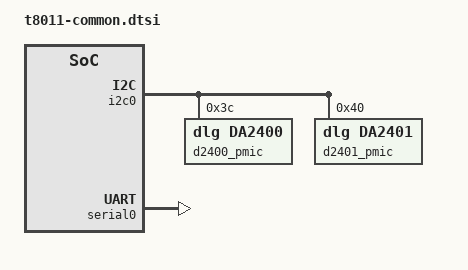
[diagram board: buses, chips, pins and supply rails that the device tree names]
// SPDX-License-Identifier: GPL-2.0+ OR MIT
/*
 * Apple TV 4K, Apple iPad Pro 2
 *
 * This file contains parts common to all Apple A10X devices.
 *
 * Copyright (c) 2024, Nick Chan <towinchenmi@gmail.com>
 */

/ {
	aliases {
		ausbphy0 = &ausbphy0; /* Used by loader */
		serial0 = &serial0;
	};

	chosen {
		#address-cells = <2>;
		#size-cells = <2>;
		ranges;

		stdout-path = "serial0";

		framebuffer0: framebuffer@0 {
			compatible = "apple,simple-framebuffer", "simple-framebuffer";
			reg = <0 0 0 0>; /* To be filled by loader */
			power-domains = <&ps_disp0_fe &ps_disp0_be &ps_dp>;
			/* Format properties will be added by loader */
			status = "disabled";
		};
	};

	memory@800000000 {
		device_type = "memory";
		reg = <0x8 0 0 0>; /* To be filled by loader */
	};

	reserved-memory {
		#address-cells = <2>;
		#size-cells = <2>;
		ranges;

		/* To be filled by loader */
	};
};

&i2c0 {
	status = "okay";

	d2400_pmic: pmic@3c {
		compatible = "dlg,da2400", "dlg,i2c-da2xxx";
		reg = <0x3c>;
		#address-cells = <1>;
		#size-cells = <1>;

		rtc@500 {
			compatible = "dlg,da2400-rtc", "dlg,da2255-rtc";
			reg = <0x500 0x10>;
			nvmem-cells = <&rtc_offset>;
			nvmem-cell-names = "rtc_offset";
		};

		nvmem@5000 {
			compatible = "dlg,da2xxx-nvmem";
			reg = <0x5000 0x28>;

			nvmem-layout {
				compatible = "fixed-layout";
				#address-cells = <1>;
				#size-cells = <1>;

				rtc_offset: rtc-offset@4 {
					reg = <0x4 0x4>;
				};
			};
		};
	};

	d2401_pmic: pmic@40 {
		compatible = "dlg,da2401", "dlg,i2c-da2xxx";
		reg = <0x40>;
		#address-cells = <1>;
		#size-cells = <1>;
	};
};

&serial0 {
	status = "okay";
};
